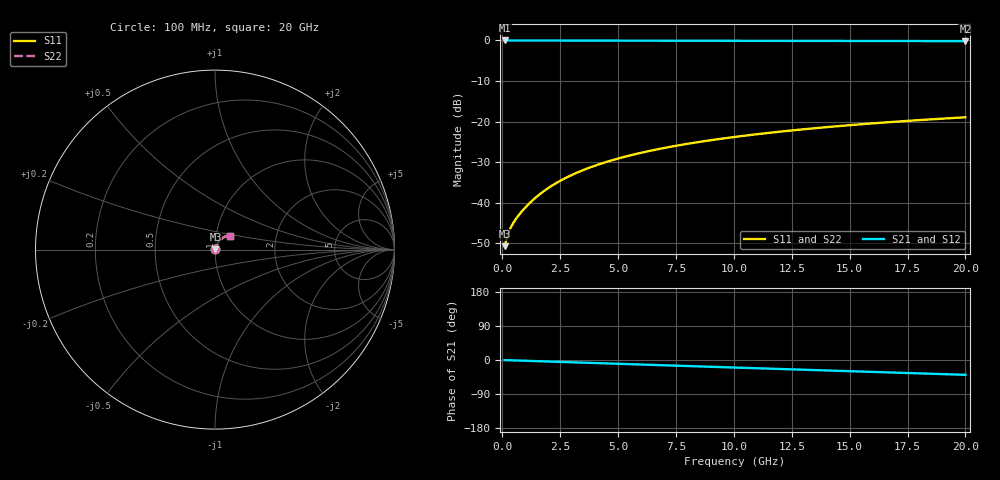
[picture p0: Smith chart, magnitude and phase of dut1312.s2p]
! Touchstone file exported from HFSS 2026.1.0
!  File:  C:/ffzhzh/LocalFiles/Ansys_Project_Files/temp_train_TMRDL_1312_1783164870_22436.aedt
!  Generated:  07:35:43 PM Jul  4, 2026
!  Design:  TMRDL
!  Project:  temp_train_TMRDL_1312_1783164870_22436
! Variables:
!  h_bsmrdl = 2um
!  h_ox = 20um
!  h_rdl = 5um
!  h_sub = 80um
!  h_tmrdl = 3.61um
!  h_tsv = 80um
!  h_via = 3um
!  l_bsmrdl = 300um
!  l_sub = 1075.78um
!  l_tmrdl = 675.78um
!  m_sub = 200um
!  pitch = 36.52um
!  r_tsv = 6um
!  s_tmrdl = 10um
!  w_bsmrdl = 18um
!  w_sub = 500um
!  w_tmrdl = 28.63um
!  x_tsv_center1 = 690.095um
!  x_tsv_center2 = 1008.095um
!  x_tsv_center3 = 1712.505um
!  x_tsv_center4 = 2030.505um
!  x_tsv_center5 = 2734.915um
!  x_tsv_center6 = 3052.915um
# GHz S MA R 50.000000
! Terminal data exported
! Port[1] = TM_RDL1_1_T1
! Port[2] = TM_RDL1_1_T2
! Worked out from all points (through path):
!   200 points, 100 MHz to 20 GHz, reference 50 ohm
!   highest |S21| = -0.02 dB at 100 MHz (marker M1); lowest = -0.2 dB at 20 GHz (marker M2)
!   group delay of S21, straight-line fit = 5.42 ps
!   lowest |S11| = -50.7 dB at 100 MHz (marker M3), VSWR 1.01, Z = 50.3 + j0.12 ohm
!   |S11| at or under -10 dB: start of sweep to end of sweep
!   |S22| runs from -50.7 to -19.0 dB; largest |S21 - S12| = 2.7e-15
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0.1  0.002907 24.3  0.9974 -0.2  0.9974 -0.2  0.002907 24.3
! Gamma 0 0 0 0
! Port Impedance 50 0 50 0
0.2  0.003706 36.2  0.997 -0.4  0.997 -0.4  0.003706 36.2
0.3  0.004478 41.8  0.9967 -0.7  0.9967 -0.7  0.004479 41.9
0.4  0.005156 45.5  0.9964 -0.9  0.9964 -0.9  0.005158 45.5
0.5  0.005774 48.4  0.9962 -1.1  0.9962 -1.1  0.005776 48.4
0.6  0.006366 51.1  0.9961 -1.3  0.9961 -1.3  0.006368 51.1
0.8  0.007541 55.6  0.9959 -1.7  0.9959 -1.7  0.007543 55.6
1.2  0.009994 62.0  0.9957 -2.5  0.9957 -2.5  0.009996 62.0
1.7  0.01323 66.4  0.9954 -3.5  0.9954 -3.5  0.01323 66.4
2.2  0.01656 68.7  0.9951 -4.5  0.9951 -4.5  0.01656 68.6
2.8  0.02058 69.8  0.9946 -5.7  0.9946 -5.7  0.02058 69.8
3.5  0.02524 70.1  0.9941 -7.1  0.9941 -7.1  0.02524 70.0
4.2  0.02983 69.7  0.9934 -8.5  0.9934 -8.5  0.02983 69.6
5  0.03496 68.8  0.9926 -10.1  0.9926 -10.1  0.03497 68.8
5.9  0.04059 67.6  0.9917 -11.8  0.9917 -11.8  0.04059 67.5
6.8  0.04605 66.2  0.9908 -13.6  0.9908 -13.6  0.04605 66.2
8.3  0.05482 63.8  0.9892 -16.5  0.9892 -16.5  0.05483 63.7
10.1  0.06488 60.8  0.9874 -20.0  0.9874 -20.0  0.06488 60.7
11.7  0.07345 58.1  0.9859 -23.2  0.9859 -23.2  0.07345 58.0
13.4  0.08219 55.2  0.9843 -26.4  0.9843 -26.4  0.0822 55.1
16.7  0.09816 49.5  0.9815 -32.8  0.9815 -32.8  0.09816 49.4
20  0.1127 43.8  0.9787 -39.1  0.9787 -39.1  0.1127 43.6
